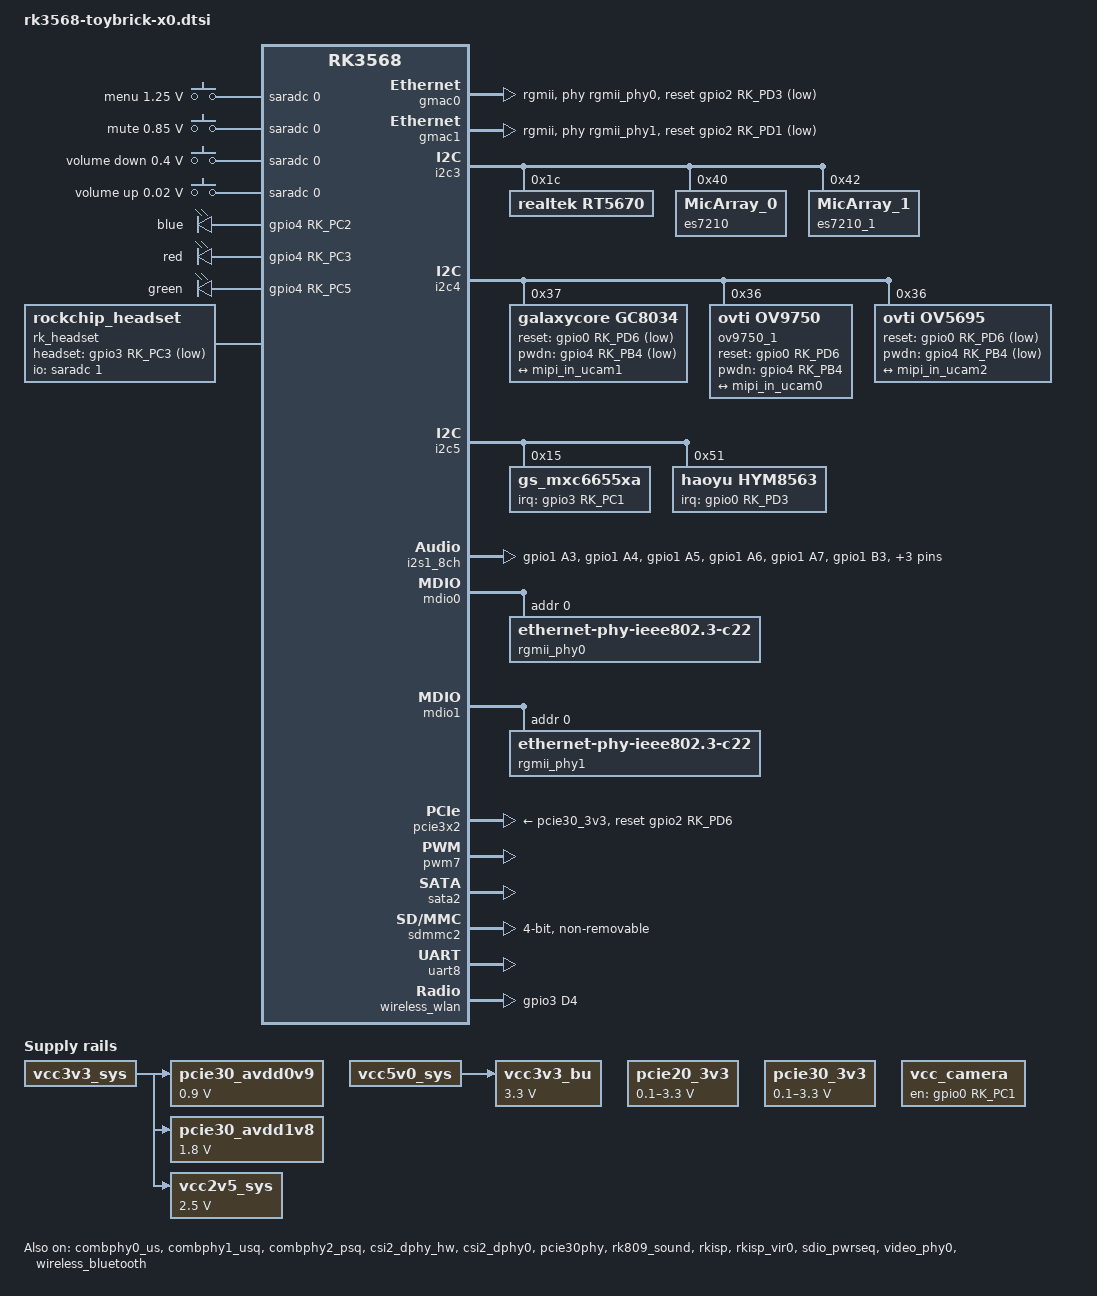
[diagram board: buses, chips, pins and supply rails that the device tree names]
// SPDX-License-Identifier: (GPL-2.0+ OR MIT)
/*
 * Copyright (c) 2023 Rockchip Electronics Co., Ltd.
 *
 */

#include <dt-bindings/gpio/gpio.h>
#include <dt-bindings/pinctrl/rockchip.h>
#include "rk3568.dtsi"
#include "rk3568-toybrick.dtsi"

/delete-node/ &adc_keys;

/ {
	compatible = "rockchip,rk3568-toybrick", "rockchip,rk3568";
	adc-keys {
		compatible = "adc-keys";
		io-channels = <&saradc 0>;
		io-channel-names = "buttons";
		poll-interval = <100>;
		keyup-threshold-microvolt = <1800000>;

		menu-key {
		    linux,code = <KEY_MENU>;
		    label = "menu";
		    press-threshold-microvolt = <1250000>;
		};

		mute-key {
		    linux,code = <KEY_MUTE>;
		    label = "mute";
		    press-threshold-microvolt = <850000>;
		};

		vol-down-key {
		    linux,code = <KEY_VOLUMEDOWN>;
		    label = "volume down";
		    press-threshold-microvolt = <400000>;
		};

		vol-up-key {
		    linux,code = <KEY_VOLUMEUP>;
		    label = "volume up";
		    press-threshold-microvolt = <20000>;
		};
	};

    gpio_leds: gpio-leds {
		compatible = "gpio-leds";
		led@1 {
			gpios = <&gpio4 RK_PC2 GPIO_ACTIVE_HIGH>;
			label = "blue"; // Blue LED
			retain-state-suspended;
		};

		led@2 {
			gpios = <&gpio4 RK_PC3 GPIO_ACTIVE_HIGH>;
			label = "red"; // Red LED
			retain-state-suspended;
		};

		led@3 {
			gpios = <&gpio4 RK_PC5 GPIO_ACTIVE_HIGH>;
			label = "green"; // Green LED
			retain-state-suspended;
		};
	};

	pcie20_3v3: gpio-regulator {
		compatible = "regulator-gpio";
		regulator-name = "pcie20_3v3";
		regulator-min-microvolt = <100000>;
		regulator-max-microvolt = <3300000>;
		gpios = <&gpio0 RK_PD4 GPIO_ACTIVE_HIGH>;
		gpios-states = <0x1>;
		states = <100000 0x0
			  3300000 0x1>;
	};

	pcie30_avdd0v9: pcie30-avdd0v9 {
		compatible = "regulator-fixed";
		regulator-name = "pcie30_avdd0v9";
		regulator-always-on;
		regulator-boot-on;
		regulator-min-microvolt = <900000>;
		regulator-max-microvolt = <900000>;
		vin-supply = <&vcc3v3_sys>;
	};

	pcie30_avdd1v8: pcie30-avdd1v8 {
		compatible = "regulator-fixed";
		regulator-name = "pcie30_avdd1v8";
		regulator-always-on;
		regulator-boot-on;
		regulator-min-microvolt = <1800000>;
		regulator-max-microvolt = <1800000>;
		vin-supply = <&vcc3v3_sys>;
	};

	pcie30_3v3: gpio-regulator {
		compatible = "regulator-gpio";
		regulator-name = "pcie30_3v3";
		regulator-min-microvolt = <100000>;
		regulator-max-microvolt = <3300000>;
		gpios = <&gpio0 RK_PD4 GPIO_ACTIVE_HIGH>;
		gpios-states = <0x1>;
		states = <100000 0x0
			  3300000 0x1>;
	};

	rk_headset: rk-headset {
		compatible = "rockchip_headset";
		headset_gpio = <&gpio3 RK_PC3 GPIO_ACTIVE_LOW>;
		pinctrl-names = "default";
		pinctrl-0 = <&hp_det>;
		io-channels = <&saradc 1>;
	};

	rk809_sound_micarray: rk809-sound-micarray {
		status = "disabled";
		compatible = "simple-audio-card";
		simple-audio-card,format = "i2s";
		simple-audio-card,name = "rockchip,rk809-codec";
		simple-audio-card,mclk-fs = <256>;

		simple-audio-card,dai-link@0 {
			format = "i2s";
			cpu {
				sound-dai = <&i2s1_8ch>;
			};
			codec {
				sound-dai = <&rk809_codec 0>;
			};
		};
		simple-audio-card,dai-link@1 {
			format = "i2s";
			cpu {
				sound-dai = <&i2s1_8ch>;
			};
			codec {
				sound-dai = <&es7210>;
			};
		};
	};

	rt5672-sound {
		compatible = "rockchip-rt5670";
		status = "disabled";
		dais {
			dai0 {
				audio-codec = <&rt5670>;
				audio-controller = <&i2s1_8ch>;
				format = "i2s";
			};
			dai1 {
				audio-codec = <&rt5670>;
				audio-controller = <&i2s1_8ch>;
				format = "i2s";
			};
			dai2 {
				audio-codec = <&es7210>;
				audio-controller = <&i2s1_8ch>;
				format = "i2s";
			};
		};
	};

	vcc2v5_sys: vcc2v5-ddr {
		compatible = "regulator-fixed";
		regulator-name = "vcc2v5-sys";
		regulator-always-on;
		regulator-boot-on;
		regulator-min-microvolt = <2500000>;
		regulator-max-microvolt = <2500000>;
		vin-supply = <&vcc3v3_sys>;
	};

    vcc_camera: vcc-camera-regulator {
		compatible = "regulator-fixed";
		gpio = <&gpio0 RK_PC1 GPIO_ACTIVE_HIGH>;
		pinctrl-names = "default";
		pinctrl-0 = <&camera_pwr>;
		regulator-name = "vcc_camera";
		enable-active-high;
		regulator-always-on;
		regulator-boot-on;
	};

	vcc3v3_bu: vcc3v3-bu {
		compatible = "regulator-fixed";
		regulator-name = "vcc3v3_bu";
		regulator-always-on;
		regulator-boot-on;
		regulator-min-microvolt = <3300000>;
		regulator-max-microvolt = <3300000>;
		vin-supply = <&vcc5v0_sys>;
	};
};

&combphy0_us {
	status = "okay";
};

&combphy1_usq {
	status = "okay";
};

&combphy2_psq {
	status = "okay";
};

&csi2_dphy_hw {
	status = "okay";
};

&csi2_dphy0 {
	status = "okay";

	ports {
		#address-cells = <1>;
		#size-cells = <0>;
		port@0 {
			reg = <0>;
			#address-cells = <1>;
			#size-cells = <0>;

			mipi_in_ucam0: endpoint@1 {
				reg = <1>;
				remote-endpoint = <&ucam_out0>;
				data-lanes = <1 2>;
			};
			mipi_in_ucam1: endpoint@2 {
				reg = <2>;
				remote-endpoint = <&gc8034_out>;
				data-lanes = <1 2 3 4>;
			};
			mipi_in_ucam2: endpoint@3 {
				reg = <3>;
				remote-endpoint = <&ov5695_out>;
				data-lanes = <1 2>;
			};
		};
		port@1 {
			reg = <1>;
			#address-cells = <1>;
			#size-cells = <0>;

			csidphy_out: endpoint@0 {
				reg = <0>;
				remote-endpoint = <&isp0_in>;
			};
		};
	};
};

&gmac0 {
	phy-mode = "rgmii";
	clock_in_out = "output";

	snps,reset-gpio = <&gpio2 RK_PD3 GPIO_ACTIVE_LOW>;
	snps,reset-active-low;
	/* Reset time is 20ms, 100ms for rtl8211f */
	snps,reset-delays-us = <0 20000 100000>;

	assigned-clocks = <&cru SCLK_GMAC0_RX_TX>, <&cru SCLK_GMAC0>;
	assigned-clock-parents = <&cru SCLK_GMAC0_RGMII_SPEED>, <&cru CLK_MAC0_2TOP>;
	assigned-clock-rates = <0>, <125000000>;

	pinctrl-names = "default";
	pinctrl-0 = <&gmac0_miim
		     &gmac0_tx_bus2
		     &gmac0_rx_bus2
		     &gmac0_rgmii_clk
		     &gmac0_rgmii_bus>;

	tx_delay = <0x37>;
	rx_delay = <0x2e>;

	phy-handle = <&rgmii_phy0>;
	status = "okay";
};

&gmac1 {
	phy-mode = "rgmii";
	clock_in_out = "output";

	snps,reset-gpio = <&gpio2 RK_PD1 GPIO_ACTIVE_LOW>;
	snps,reset-active-low;
	/* Reset time is 20ms, 100ms for rtl8211f */
	snps,reset-delays-us = <0 20000 100000>;

	assigned-clocks = <&cru SCLK_GMAC1_RX_TX>, <&cru SCLK_GMAC1>;
	assigned-clock-parents = <&cru SCLK_GMAC1_RGMII_SPEED>, <&cru CLK_MAC1_2TOP>;
	assigned-clock-rates = <0>, <125000000>;

	pinctrl-names = "default";
	pinctrl-0 = <&gmac1m1_miim
		     &gmac1m1_tx_bus2
		     &gmac1m1_rx_bus2
		     &gmac1m1_rgmii_clk
		     &gmac1m1_rgmii_bus>;

	tx_delay = <0x47>;
	rx_delay = <0x28>;

	phy-handle = <&rgmii_phy1>;
	status = "okay";
};

&i2c3 {
	status = "okay";
	rt5670: rt5670@1c {
	    status = "okay";
		#sound-dai-cell = <0>;
		compatible = "realtek,rt5670";
		reg = <0x1c>;
	};

    es7210: es7210@40 {
		#sound-dai-cells = <0>;
		compatible = "MicArray_0";
		reg = <0x40>;
		clocks = <&cru I2S1_MCLKOUT_RX>;//csqerr
		clock-names = "mclk";
	};

	es7210_1: es7210@42 {
		compatible = "MicArray_1";
		reg = <0x42>;
	};
};

&i2c4 {
	status = "okay";

	gc8034: gc8034@37 {
		compatible = "galaxycore,gc8034";
		reg = <0x37>;
		clocks = <&cru CLK_CIF_OUT>;//CLK_CAM0_OUT>;
		clock-names = "xvclk";
		power-domains = <&power RK3568_PD_VI>;
		pinctrl-names = "default";
		pinctrl-0 = <&cif_clk>;
		reset-gpios = <&gpio0 RK_PD6 GPIO_ACTIVE_LOW>;
		pwdn-gpios = <&gpio4 RK_PB4 GPIO_ACTIVE_LOW>;
		rockchip,grf = <&grf>;
		rockchip,camera-module-index = <0>;
		rockchip,camera-module-facing = "back";
		rockchip,camera-module-name = "RK-CMK-8M-2-v1";
		rockchip,camera-module-lens-name = "CK8401";
		port {
			gc8034_out: endpoint {
				remote-endpoint = <&mipi_in_ucam1>;
				data-lanes = <1 2 3 4>;
			};
		};
	};

    ov9750_1: ov9750_1@36 {
		compatible = "ovti,ov9750";
		reg = <0x36>;
		clocks = <&cru CLK_CIF_OUT>;
		clock-names = "xvclk";
		pinctrl-names = "default";
		pinctrl-0 = <&cif_clk>;
		power-domains = <&power RK3568_PD_VI>;
		reset-gpios = <&gpio0 RK_PD6 GPIO_ACTIVE_HIGH>;
		pwdn-gpios = <&gpio4 RK_PB4 GPIO_ACTIVE_HIGH>;
		rockchip,camera-module-index = <0>;
		rockchip,camera-module-facing = "back";
		rockchip,camera-module-name = "CMK-OT0854-FV1";
		rockchip,camera-module-lens-name = "CHT-842B-MD";
		port {
			ucam_out0: endpoint {
				remote-endpoint = <&mipi_in_ucam0>;
				data-lanes = <1 2>;
			};
		};
	};

	ov5695: ov5695@36 {
		status = "okay";
		compatible = "ovti,ov5695";
		reg = <0x36>;
		clocks = <&cru CLK_CIF_OUT>;
		clock-names = "xvclk";
		power-domains = <&power RK3568_PD_VI>;
		pinctrl-names = "default";
		pinctrl-0 = <&cif_clk>;
		reset-gpios = <&gpio0 RK_PD6 GPIO_ACTIVE_LOW>;
		pwdn-gpios = <&gpio4 RK_PB4 GPIO_ACTIVE_LOW>;
		rockchip,camera-module-index = <0>;
		rockchip,camera-module-facing = "back";
		rockchip,camera-module-name = "TongJu";
		rockchip,camera-module-lens-name = "CHT842-MD";
		port {
			ov5695_out: endpoint {
				remote-endpoint = <&mipi_in_ucam2>;
				data-lanes = <1 2>;
			};
		};
	};
};

&i2c5 {
	status = "okay";

	gs_mxc6655xa: gs_mxc6655xa@15 {
		status = "okay";
		compatible = "gs_mxc6655xa";
		pinctrl-names = "default";
		pinctrl-0 = <&mxc6655xa_irq_pin>;
		reg = <0x15>;
		irq-gpio = <&gpio3 RK_PC1 IRQ_TYPE_LEVEL_LOW>;
		irq_enable = <0>;
		poll_delay_ms = <30>;
		type = <SENSOR_TYPE_ACCEL>;
		power-off-in-suspend = <1>;
		layout = <1>;
	};

    mxc6655xa: mxc6655xa@15 {
		status = "disabled";
		compatible = "gs_mxc6655xa";
		pinctrl-names = "default";
		pinctrl-0 = <&mxc6655xa_irq_pin>;
		reg = <0x15>;
		irq-gpio = <&gpio3 RK_PC1 IRQ_TYPE_LEVEL_LOW>;
		irq_enable = <0>;
		poll_delay_ms = <30>;
		type = <SENSOR_TYPE_ACCEL>;
		power-off-in-suspend = <1>;
		layout = <1>;
	};

    hym8563: hym8563@51 {
		compatible = "haoyu,hym8563";
		reg = <0x51>;
		pinctrl-names = "default";
		pinctrl-0 = <&rtc_int>;

		interrupt-parent = <&gpio0>;
		interrupts = <RK_PD3 IRQ_TYPE_LEVEL_LOW>;
	};
};

&i2s1_8ch {
	status = "okay";
	#sound-dai-cells = <0>;
	rockchip,clk-trcm = <1>;
	pinctrl-names = "default";
	pinctrl-0 = <&i2s1m0_sclktx
		     &i2s1m0_sclkrx
		     &i2s1m0_lrcktx
		     &i2s1m0_sclkrx
		     &i2s1m0_lrckrx
		     &i2s1m0_sdo0
		     &i2s1m0_sdi0
		     &i2s1m0_sdi1
		     &i2s1m0_sdi2
		     &i2s1m0_sdi3>;
};

&mdio0 {
	rgmii_phy0: phy@0 {
		compatible = "ethernet-phy-ieee802.3-c22";
		reg = <0x0>;
	};
};

&mdio1 {
	rgmii_phy1: phy@0 {
		compatible = "ethernet-phy-ieee802.3-c22";
		reg = <0x0>;
	};
};

&pcie30phy {
	status = "okay";
};

&pcie3x2 {
	reset-gpios = <&gpio2 RK_PD6 GPIO_ACTIVE_HIGH>;
	vpcie3v3-supply = <&pcie30_3v3>;
	status = "okay";
};

&pwm7 {
	status = "okay";
};

&rk809_sound {
	status = "okay";
};

&rkisp {
	status = "okay";
};

&rkisp_mmu {
	status = "okay";
};

&rkisp_vir0 {
	status = "okay";

	port {
		#address-cells = <1>;
		#size-cells = <0>;

		isp0_in: endpoint@0 {
			reg = <0>;
			remote-endpoint = <&csidphy_out>;
		};
	};
};

&sata2 {
	status = "okay";
};

&sdio_pwrseq {
	compatible = "mmc-pwrseq-simple";
	clocks = <&rk809 1>;
	clock-names = "ext_clock";
	pinctrl-names = "default";
	pinctrl-0 = <&wifi_enable_h>;

	/*
	 * On the module itself this is one of these (depending
	 * on the actual card populated):
	 * - SDIO_RESET_L_WL_REG_ON
	 * - PDN (power down when low)
	 */
	reset-gpios = <&gpio3 RK_PD5 GPIO_ACTIVE_LOW>;
	post-power-on-delay-ms = <20>;
	status = "okay";
};

&sdmmc1 {
	status = "disabled";
};

&sdmmc2 {
	max-frequency = <150000000>;
	supports-sdio;
	bus-width = <4>;
	disable-wp;
	cap-sd-highspeed;
	cap-sdio-irq;
	keep-power-in-suspend;
	mmc-pwrseq = <&sdio_pwrseq>;
	non-removable;
	pinctrl-names = "default";
	pinctrl-0 = <&sdmmc2m0_bus4 &sdmmc2m0_cmd &sdmmc2m0_clk>;
	sd-uhs-sdr104;
	status = "okay";
};

&uart1 {
	status = "disabled";
	pinctrl-names = "default";
	pinctrl-0 = <&uart1m0_xfer &uart1m0_ctsn>;
};

&uart8 {
	status = "okay";
	pinctrl-names = "default";
	pinctrl-0 = <&uart8m0_xfer &uart8m0_ctsn>;
};

&vcc3v3_lcd0_n {
	gpio = <&gpio0 RK_PC7 GPIO_ACTIVE_HIGH>;
	enable-active-high;
};

&vcc3v3_lcd1_n {
	gpio = <&gpio0 RK_PC5 GPIO_ACTIVE_HIGH>;
	enable-active-high;
};

&video_phy0 {
	status = "okay";
};

&video_phy1 {
	status = "disabled";
};

&wireless_wlan {
	pinctrl-names = "default";
	pinctrl-0 = <&wifi_host_wake_irq>;
	WIFI,host_wake_irq = <&gpio3 RK_PD4 GPIO_ACTIVE_HIGH>;
};

&wireless_bluetooth {
	compatible = "bluetooth-platdata";
	clocks = <&rk809 1>;
	clock-names = "ext_clock";
	//wifi-bt-power-toggle;
	uart_rts_gpios = <&gpio2 RK_PB1 GPIO_ACTIVE_LOW>;
	pinctrl-names = "default", "rts_gpio";
	pinctrl-0 = <&uart8m0_rtsn>;
	pinctrl-1 = <&uart8_pin>;
	BT,reset_gpio    = <&gpio3 RK_PA0 GPIO_ACTIVE_HIGH>;
	BT,wake_gpio     = <&gpio3 RK_PA2 GPIO_ACTIVE_HIGH>;
	BT,wake_host_irq = <&gpio3 RK_PA1 GPIO_ACTIVE_HIGH>;
	status = "okay";
};

&pinctrl {
	cam {
		camera_pwr: camera-pwr {
			rockchip,pins =
				/* camera power en */
				<0 RK_PC1 RK_FUNC_GPIO &pcfg_pull_none>;
		};
	};

	headphone {
		hp_det: hp-det {
			rockchip,pins = <3 RK_PC3 RK_FUNC_GPIO &pcfg_pull_down>;
		};
	};

	i2s1 {
		/omit-if-no-ref/
		i2s1m0_lrckrx: i2s1m0-lrckrx {
			rockchip,pins =
				/* i2s1m0_lrckrx */
				<1 RK_PA6 1 &pcfg_pull_up_drv_level_4>;
		};
		/omit-if-no-ref/
		i2s1m0_lrcktx: i2s1m0-lrcktx {
			rockchip,pins =
				/* i2s1m0_lrcktx */
				<1 RK_PA5 1 &pcfg_pull_up_drv_level_4>;
		};
		/omit-if-no-ref/
		i2s1m0_mclk: i2s1m0-mclk {
			rockchip,pins =
				/* i2s1m0_mclk */
				<1 RK_PA2 1 &pcfg_pull_up_drv_level_4>;
		};
		/omit-if-no-ref/
		i2s1m0_sclkrx: i2s1m0-sclkrx {
			rockchip,pins =
				/* i2s1m0_sclkrx */
				<1 RK_PA4 1 &pcfg_pull_up_drv_level_4>;
		};
		/omit-if-no-ref/
		i2s1m0_sclktx: i2s1m0-sclktx {
			rockchip,pins =
				/* i2s1m0_sclktx */
				<1 RK_PA3 1 &pcfg_pull_up_drv_level_4>;
		};
		/omit-if-no-ref/
		i2s1m0_sdi0: i2s1m0-sdi0 {
			rockchip,pins =
				/* i2s1m0_sdi0 */
				<1 RK_PB3 1 &pcfg_pull_up_drv_level_4>;
		};
		/omit-if-no-ref/
		i2s1m0_sdi1: i2s1m0-sdi1 {
			rockchip,pins =
				/* i2s1m0_sdi1 */
				<1 RK_PB2 2 &pcfg_pull_up_drv_level_4>;
		};
		/omit-if-no-ref/
		i2s1m0_sdi2: i2s1m0-sdi2 {
			rockchip,pins =
				/* i2s1m0_sdi2 */
				<1 RK_PB1 2 &pcfg_pull_up_drv_level_4>;
		};
		/omit-if-no-ref/
		i2s1m0_sdi3: i2s1m0-sdi3 {
			rockchip,pins =
				/* i2s1m0_sdi3 */
				<1 RK_PB0 2 &pcfg_pull_up_drv_level_4>;
		};
		/omit-if-no-ref/
		i2s1m0_sdo0: i2s1m0-sdo0 {
			rockchip,pins =
				/* i2s1m0_sdo0 */
				<1 RK_PA7 1 &pcfg_pull_up_drv_level_4>;
		};
	};

	leds_pin: leds-pin {
		rockchip,pins =
			<4 RK_PC2 RK_FUNC_GPIO &pcfg_pull_up>,
			<4 RK_PC3 RK_FUNC_GPIO &pcfg_pull_up>,
			<4 RK_PC5 RK_FUNC_GPIO &pcfg_pull_up>;
	};

	mxc6655xa {
		mxc6655xa_irq_pin: mxc6655xa_irq_pin {
			rockchip,pins = <3 RK_PC1 RK_FUNC_GPIO &pcfg_pull_none>;
		};
	};

	rtc {
		rtc_int: rtc-int {
			rockchip,pins = <0 RK_PD3 RK_FUNC_GPIO &pcfg_pull_up>;
		};
	};

	sdio-pwrseq {
		wifi_enable_h: wifi-enable-h {
			rockchip,pins = <3 RK_PD5 RK_FUNC_GPIO &pcfg_pull_none>;
		};
	};

	wireless-wlan {
		wifi_host_wake_irq: wifi-host-wake-irq {
			rockchip,pins = <3 RK_PD4 RK_FUNC_GPIO &pcfg_pull_down>;
		};
	};

	wireless-bluetooth {
		uart8_pin: uart8-pin {
			rockchip,pins = <2 RK_PB1 RK_FUNC_GPIO &pcfg_pull_none>;
		};
	};
};
